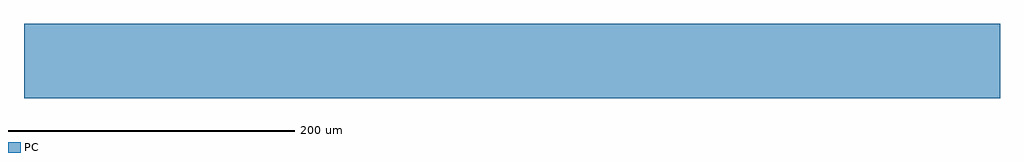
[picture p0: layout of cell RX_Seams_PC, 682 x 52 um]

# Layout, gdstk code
import gdstk
lib = gdstk.Library(unit=1e-6, precision=1e-09)
def R(c, l, rs):  # rectangles x0, y0, x1, y1
    for r in rs: c.add(gdstk.rectangle(r[:2], r[2:], *l))
def A(c, l, x, y, w, h, nx, ny, dx, dy):  # array of equal rectangles
    R(c, l, [(x+i*dx, y+j*dy, x+i*dx+w, y+j*dy+h) for i in range(nx) for j in range(ny)])
PC = (50, 0)

rx_seams_pc = lib.new_cell('RX_Seams_PC')
A(rx_seams_pc, PC, 21884.4, 1, 122, 52, 8, 1, 80, 0)

lib.write_gds('RX_Seams_PC.gds')
